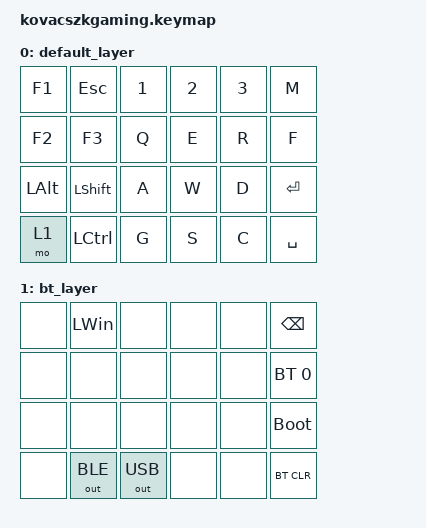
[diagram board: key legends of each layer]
#include <behaviors.dtsi>
#include <dt-bindings/zmk/keys.h>
#include <dt-bindings/zmk/bt.h>
#include <dt-bindings/zmk/outputs.h>


/ {  
    keymap {
        compatible = "zmk,keymap";

        default_layer {
            bindings = <
                &kp F1    &kp ESC     &kp N1   &kp N2   &kp N3   &kp M
                &kp F2    &kp F3      &kp Q   &kp E   &kp R   &kp F
                &kp LALT  &kp LSHIFT  &kp A   &kp W   &kp D   &kp ENTER
                &mo 1     &kp LCTRL   &kp G   &kp S   &kp C   &kp SPACE
            >;
        }; 
        
        bt_layer {
            bindings = <
                &none    &kp LWIN    &none      &none    &none    &kp BSPC
                &none    &none       &none      &none    &none    &bt BT_SEL 0
                &none    &none       &none      &none    &none    &bootloader
                &none    &out OUT_BLE       &out OUT_USB      &none    &none    &bt BT_CLR
            >;
        };
    };
};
